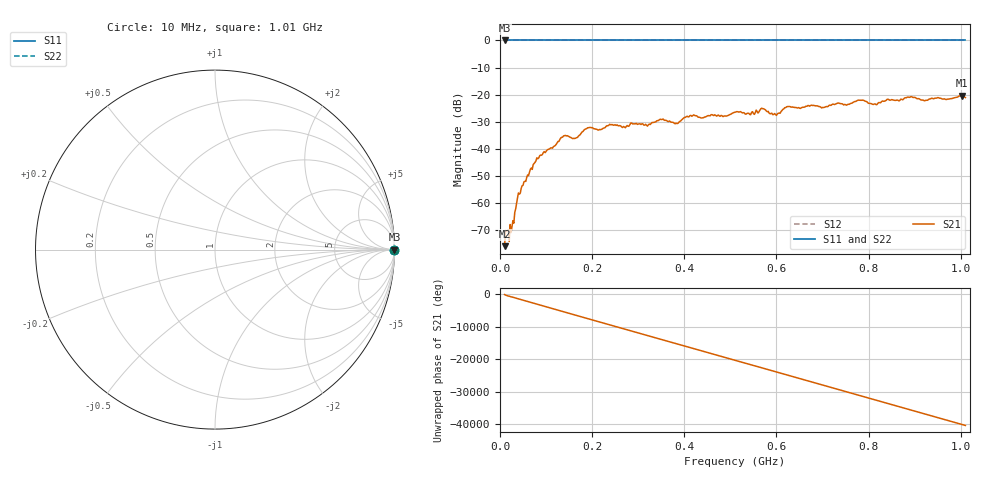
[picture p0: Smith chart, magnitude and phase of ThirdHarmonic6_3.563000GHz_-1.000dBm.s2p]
! 8/17/2025 11:47:26 AM
! C:\ANRITSUVNA\TEMP\TEMP.S2P
! CHANNEL.1
! TR.MEASUREMENT
! RAW.DATA
! RF.CORRECTION.OFF
! AVERAGING.OFF
! IF.BANDWIDTH: 5KHZ
! SWEEPTYPE:  FREQ.SWEEP(Linear)
! Reference Plane Port Info
! PORT:  PORT1  PORT2
! DISTANCE:  0  m  0  m
! TIME:  0  s  0  s
! PHASE.OFFSET:  0  deg.  0  deg.
! LOSS:  0  dB  0  dB
! REF.LOSS:  0  dB  0  dB
! REF.FREQ:  0  Hz  0  Hz
! Power Info
! POWER:  -20  dBm  -20  dBm
! EFF.POWER:  -20  dBm  -20  dBm
! SOURCE.ATTEN:  0  dB  0  dB
! TEST.ATTEN:  0  dB  0  dB
# GHZ S RI R 50.0
! FREQ.GHZ  S11RE  S11IM  S21RE  S21IM  S12RE  S12IM  S22RE  S22IM
!; PortSelection: Port_12
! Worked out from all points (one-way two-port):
!   501 points, 10 MHz to 1.01 GHz, reference 50 ohm
!   highest |S21| = -20.36 dB at 1.002 GHz (marker M1); lowest = -76.0 dB at 10 MHz (marker M2)
!   lowest |S11| = 0.0 dB at 10 MHz (marker M3)
!   |S11| at or under -10 dB: nowhere
!   |S22| runs from 0.0 to 0.0 dB; largest |S21 - S12| = 1.1
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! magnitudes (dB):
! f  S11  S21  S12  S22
! 10 MHz  0.0  -76.0  0.0  0.0
! 24 MHz  0.0  -71.0  0.0  0.0
! 44 MHz  0.0  -56.5  0.0  0.0
! 76 MHz  0.0  -45.1  0.0  0.0
! 136 MHz  0.0  -35.7  0.0  0.0
! 162 MHz  0.0  -36.2  0.0  0.0
! 178 MHz  0.0  -33.8  0.0  0.0
! 194 MHz  0.0  -32.1  0.0  0.0
! 322 MHz  0.0  -31.2  0.0  0.0
! 344 MHz  0.0  -29.6  0.0  0.0
! 382 MHz  0.0  -30.5  0.0  0.0
! 416 MHz  0.0  -28.0  0.0  0.0
! 510 MHz  0.0  -26.5  0.0  0.0
! 570 MHz  0.0  -25.2  0.0  0.0
! 596 MHz  0.0  -27.0  0.0  0.0
! 624 MHz  0.0  -24.4  0.0  0.0
! 678 MHz  0.0  -24.0  0.0  0.0
! 782 MHz  0.0  -22.1  0.0  0.0
! 814 MHz  0.0  -23.4  0.0  0.0
! 844 MHz  0.0  -21.9  0.0  0.0
! 1.002 GHz  0.0  -20.4  0.0  0.0
! 1.01 GHz  0.0  -21.1  0.0  0.0
